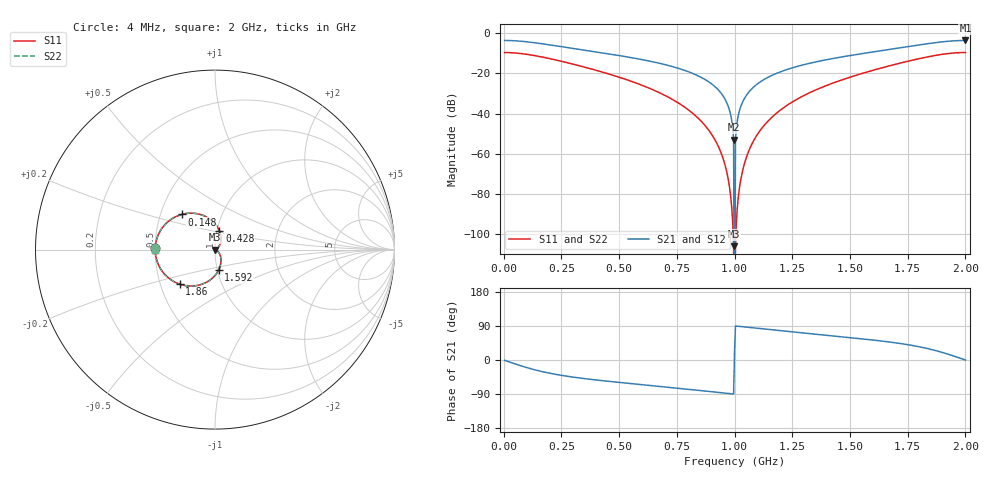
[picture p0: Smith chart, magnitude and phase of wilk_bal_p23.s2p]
!Created with skrf (http://scikit-rf.org).
# GHz S RI R 50.0
!freq ReS11 ImS11 ReS21 ImS21 ReS12 ImS12 ReS22 ImS22
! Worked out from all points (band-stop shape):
!   500 points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, 4 MHz to 2 GHz, reference 50 ohm
!   highest |S21| = -3.52 dB at 2 GHz (marker M1); lowest = -53.1 dB at 996 MHz (marker M2)
!   |S21| within 3 dB of the highest: start of sweep to 245 MHz; 1.755 GHz to end of sweep
!   lowest |S11| = -106.1 dB at 996 MHz (marker M3), VSWR 1.00, Z = 50 + j4.38e-06 ohm
!   |S11| at or under -10 dB: 70.51 MHz to 1.929 GHz (1.859 GHz wide, 186 % of centre)
!   |S22| runs from - to -9.5 dB; largest |S21 - S12| = 3.7e-16
!   S11 on the Smith chart (normalised r, x): 4 MHz: 0.50, +0.01; 148 MHz: 0.64, +0.27; 428 MHz: 1.03, +0.22; 1.592 GHz: 1.01, -0.24; 1.86 GHz: 0.63, -0.26; 2 GHz: 0.50, +0.00
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0.004  -0.3332 0.0079  0.6665 -0.00987  0.6665 -0.00987  -0.3332 0.0079
0.148  -0.1864 0.1957  0.504 -0.2666  0.504 -0.2666  -0.1864 0.1957
0.34  -0.00451 0.1493  0.2588 -0.2911  0.2588 -0.2911  -0.00451 0.1493
0.428  0.0242 0.1055  0.189 -0.2655  0.189 -0.2655  0.0242 0.1055
0.672  0.0249 0.0227  0.0634 -0.1698  0.0634 -0.1698  0.0249 0.0227
0.836  0.00777 0.00297  0.0164 -0.0894  0.0164 -0.0894  0.00777 0.00297
0.932  0.00141 0.000215  0.00285 -0.0376  0.00285 -0.0376  0.00141 0.000215
0.976  0.000177 9.47e-06  0.000355 -0.0133  0.000355 -0.0133  0.000177 9.47e-06
0.988  4.44e-05 1.18e-06  8.88e-05 -0.00666  8.88e-05 -0.00666  4.44e-05 1.18e-06
0.992  1.97e-05 3.51e-07  3.95e-05 -0.00444  3.95e-05 -0.00444  1.97e-05 3.51e-07
0.996  4.93e-06 4.38e-08  9.87e-06 -0.00222  9.87e-06 -0.00222  4.93e-06 4.38e-08
1.004  4.93e-06 -4.38e-08  9.87e-06 0.00222  9.87e-06 0.00222  4.93e-06 -4.38e-08
1.008  1.97e-05 -3.51e-07  3.95e-05 0.00444  3.95e-05 0.00444  1.97e-05 -3.51e-07
1.012  4.44e-05 -1.18e-06  8.88e-05 0.00666  8.88e-05 0.00666  4.44e-05 -1.18e-06
1.024  0.000177 -9.47e-06  0.000355 0.0133  0.000355 0.0133  0.000177 -9.47e-06
1.072  0.00158 -0.000255  0.00319 0.0398  0.00319 0.0398  0.00158 -0.000255
1.172  0.00849 -0.00342  0.018 0.0936  0.018 0.0936  0.00849 -0.00342
1.336  0.0257 -0.0243  0.0665 0.1734  0.0665 0.1734  0.0257 -0.0243
1.592  0.0198 -0.1151  0.2032 0.2719  0.2032 0.2719  0.0198 -0.1151
1.668  -0.00847 -0.1534  0.2662 0.293  0.2662 0.293  -0.00847 -0.1534
1.86  -0.1976 -0.1922  0.5168 0.2595  0.5168 0.2595  -0.1976 -0.1922
2  -0.3333 4.04e-16  0.6667 -5.05e-16  0.6667 -5.05e-16  -0.3333 4.04e-16
